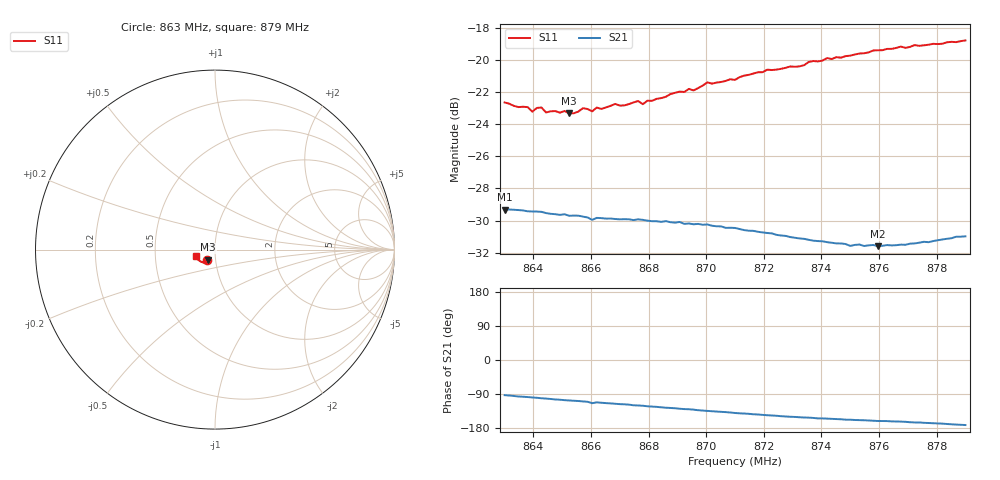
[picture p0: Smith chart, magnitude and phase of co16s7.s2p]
# HZ S RI R 50
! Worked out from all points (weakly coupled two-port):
!   101 points, 863 MHz to 879 MHz, reference 50 ohm
!   highest |S21| = -29.31 dB at 863 MHz (marker M1); lowest = -31.6 dB at 875.96 MHz (marker M2)
!   lowest |S11| = -23.3 dB at 865.24 MHz (marker M3), VSWR 1.15, Z = 46 - j5.21 ohm
!   |S11| at or under -10 dB: start of sweep to end of sweep
!   S12 and S22 are empty: the file has one direction only
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8.63e8  -0.0473 -0.0565  -0.00168 -0.0342  0 0  0 0
8.638e8  -0.043 -0.0568  -0.00458 -0.0335  0 0  0 0
8.6396e8  -0.0415 -0.0551  -0.00519 -0.0334  0 0  0 0
8.6428e8  -0.0422 -0.0572  -0.00643 -0.0331  0 0  0 0
8.6444e8  -0.0411 -0.0549  -0.00676 -0.0327  0 0  0 0
8.6524e8  -0.0384 -0.0563  -0.00945 -0.0314  0 0  0 0
8.6572e8  -0.0386 -0.0592  -0.0107 -0.0307  0 0  0 0
8.6604e8  -0.0377 -0.058  -0.0129 -0.0291  0 0  0 0
8.6684e8  -0.0384 -0.0619  -0.0138 -0.0289  0 0  0 0
8.6716e8  -0.0369 -0.0619  -0.0145 -0.0285  0 0  0 0
8.6764e8  -0.0392 -0.0632  -0.0159 -0.0277  0 0  0 0
8.678e8  -0.0379 -0.0621  -0.0163 -0.0273  0 0  0 0
8.6844e8  -0.0394 -0.065  -0.0179 -0.0257  0 0  0 0
8.694e8  -0.0435 -0.0685  -0.0199 -0.0238  0 0  0 0
8.6956e8  -0.0436 -0.0674  -0.0202 -0.0233  0 0  0 0
8.7004e8  -0.0469 -0.0709  -0.0215 -0.022  0 0  0 0
8.71e8  -0.0504 -0.0704  -0.0229 -0.0194  0 0  0 0
8.7212e8  -0.0593 -0.0718  -0.0239 -0.0163  0 0  0 0
8.7372e8  -0.0685 -0.0716  -0.0244 -0.0125  0 0  0 0
8.7596e8  -0.0865 -0.0629  -0.0249 -0.0086  0 0  0 0
8.7644e8  -0.0907 -0.0588  -0.0252 -0.00817  0 0  0 0
8.79e8  -0.1085 -0.0375  -0.028 -0.0041  0 0  0 0
